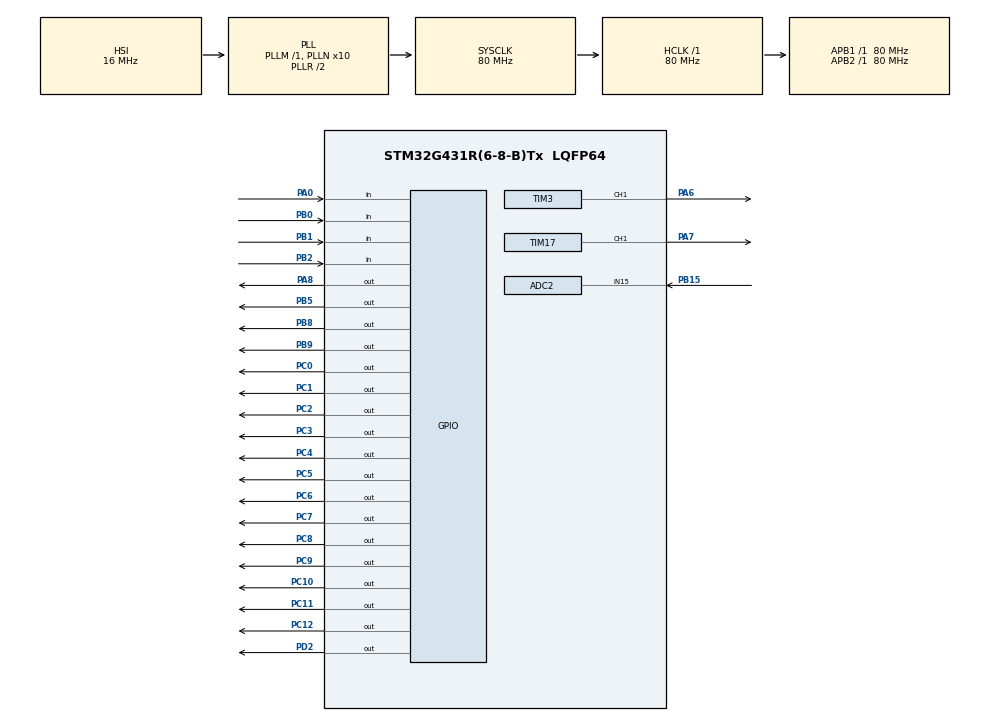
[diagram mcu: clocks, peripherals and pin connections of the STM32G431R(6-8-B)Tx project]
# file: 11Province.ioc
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ADC2.Channel-0\#ChannelRegularConversion=ADC_CHANNEL_15
ADC2.NbrOfConversionFlag=1
ADC2.OffsetNumber-0\#ChannelRegularConversion=ADC_OFFSET_NONE
ADC2.Rank-0\#ChannelRegularConversion=1
ADC2.SamplingTime-0\#ChannelRegularConversion=ADC_SAMPLETIME_2CYCLES_5
Mcu.Family=STM32G4
Mcu.Name=STM32G431R(6-8-B)Tx
Mcu.Package=LQFP64
NVIC.PriorityGroup=NVIC_PRIORITYGROUP_4
NVIC.TIM1_UP_TIM16_IRQn=true\:0\:0\:false\:false\:true\:true\:true\:true
PA0.Signal=GPIO_Input
PA13.Mode=Serial_Wire
PA13.Signal=SYS_JTMS-SWDIO
PA14.Mode=Serial_Wire
PA14.Signal=SYS_JTCK-SWCLK
PA6.Signal=S_TIM3_CH1
PA7.Signal=S_TIM17_CH1
PA8.Signal=GPIO_Output
PB0.Signal=GPIO_Input
PB1.Signal=GPIO_Input
PB15.Mode=IN15-Single-Ended
PB15.Signal=ADC2_IN15
PB2.Signal=GPIO_Input
PB5.Signal=GPIO_Output
PB8-BOOT0.Signal=GPIO_Output
PB9.Signal=GPIO_Output
PC0.Signal=GPIO_Output
PC1.Signal=GPIO_Output
PC10.Signal=GPIO_Output
PC11.Signal=GPIO_Output
PC12.Signal=GPIO_Output
PC2.Signal=GPIO_Output
PC3.Signal=GPIO_Output
PC4.Signal=GPIO_Output
PC5.Signal=GPIO_Output
PC6.Signal=GPIO_Output
PC7.Signal=GPIO_Output
PC8.Signal=GPIO_Output
PC9.Signal=GPIO_Output
PD2.Signal=GPIO_Output
PF0-OSC_IN.Mode=HSE-External-Oscillator
PF0-OSC_IN.Signal=RCC_OSC_IN
PF1-OSC_OUT.Mode=HSE-External-Oscillator
PF1-OSC_OUT.Signal=RCC_OSC_OUT
ProjectManager.HeapSize=0x200
ProjectManager.StackSize=0x400
ProjectManager.TargetToolchain=MDK-ARM V5.32
RCC.ADC12Freq_Value=80000000
RCC.AHBFreq_Value=80000000
RCC.APB1Freq_Value=80000000
RCC.APB1TimFreq_Value=80000000
RCC.APB2Freq_Value=80000000
RCC.APB2TimFreq_Value=80000000
RCC.CortexFreq_Value=80000000
RCC.EXTERNAL_CLOCK_VALUE=12288000
RCC.HCLKFreq_Value=80000000
RCC.HSE_VALUE=8000000
RCC.HSI48_VALUE=48000000
RCC.HSI_VALUE=16000000
RCC.LSE_VALUE=32768
RCC.PLLN=10
RCC.SYSCLKFreq_VALUE=80000000
RCC.SYSCLKSource=RCC_SYSCLKSOURCE_PLLCLK
RCC.USBFreq_Value=80000000
RCC.VCOOutputFreq_Value=160000000
SH.S_TIM17_CH1.0=TIM17_CH1,PWM Generation1 CH1
SH.S_TIM3_CH1.0=TIM3_CH1,PWM Generation1 CH1
TIM1.AutoReloadPreload=TIM_AUTORELOAD_PRELOAD_ENABLE
TIM1.PeriodNoDither=10000-1
TIM1.Prescaler=80-1
TIM17.Channel=TIM_CHANNEL_1
TIM17.PeriodNoDither=10000-1
TIM17.Prescaler=40-1
TIM17.PulseNoDither_1=1000
TIM3.Channel-PWM\ Generation1\ CH1=TIM_CHANNEL_1
TIM3.PeriodNoDither=10000-1
TIM3.Prescaler=80-1
TIM3.PulseNoDither_1=1000
VP_SYS_VS_DBSignals.Mode=DisableDeadBatterySignals
VP_TIM17_VS_ClockSourceINT.Mode=Enable_Timer
VP_TIM1_VS_ClockSourceINT.Mode=Internal
board=custom

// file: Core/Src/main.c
/* USER CODE BEGIN Header */
/**
  ******************************************************************************
  * @file           : main.c
  * @brief          : Main program body
  ******************************************************************************
  * @attention
  *
  * Copyright (c) 2024 STMicroelectronics.
  * All rights reserved.
  *
  * This software is licensed under terms that can be found in the LICENSE file
  * in the root directory of this software component.
  * If no LICENSE file comes with this software, it is provided AS-IS.
  *
  ******************************************************************************
  */
/* USER CODE END Header */
#include "main.h"
#include "adc.h"
#include "tim.h"
#include "gpio.h"

/* USER CODE BEGIN Includes */
#include "stdio.h"
#include "string.h"
#include "lcd.h"
#include "interrupt.h"
/* USER CODE END Includes */

void SystemClock_Config(void);

/* USER CODE BEGIN 0 */
int sreen=0;
int PA6_Duty=1000;
int PA7_Duty=1000;
int mode_sta=0;
int LED=0x00;
void Key()
{
	if(get_key_stat(0))
	{
		set_key_stat(0,0);
		sreen++;
	}
	if(sreen%2)
	{
		if(get_key_stat(1))
		{
			set_key_stat(1,0);
			if(PA6_Duty>=9000)		{PA6_Duty=1000;}
			else if(PA6_Duty<1000)  {PA6_Duty=1000;}
			else					{PA6_Duty+=1000;}
			__HAL_TIM_SetCompare(&htim3,TIM_CHANNEL_1,PA6_Duty);
		}
		if(get_key_stat(2))
		{
			set_key_stat(2,0);
			if(PA7_Duty>=9000)		{PA7_Duty=1000;}
			else if(PA7_Duty<1000)  {PA7_Duty=1000;}
			else					{PA7_Duty+=1000;}
			__HAL_TIM_SetCompare(&htim17,TIM_CHANNEL_1,PA7_Duty);
		}
	}
	if(get_key_stat(3))
	{
		mode_sta++;
		set_key_stat(3,0);
	}
}
void Data()
{
	static char *mode[2]={"AUTO","MANU"};
	double value=getADC(&hadc2);
	unsigned char str[20];
	LCD_DisplayStringLine(Line0,(u8 *)"      Data  ");
	sprintf((char *)str,"    V:%.2fV   ",value);
	LCD_DisplayStringLine(Line2,str);
	if(mode_sta%2){
		if(PA6_Duty>=9000)		{PA6_Duty=1000;}
		else if(PA6_Duty<1000)  {PA6_Duty=1000;}
		if(PA7_Duty>=9000)		{PA7_Duty=1000;}
		else if(PA7_Duty<1000)  {PA7_Duty=1000;}
		__HAL_TIM_SetCompare(&htim3,TIM_CHANNEL_1,PA6_Duty);
		__HAL_TIM_SetCompare(&htim17,TIM_CHANNEL_1,PA7_Duty);
		sprintf((char*)str,"    Mode:%s",mode[1]);
		LED=(0x02);
	}
	else{
		LED=(0x03);
		PA6_Duty=PA7_Duty=value/3.3*10000;
		sprintf((char*)str,"    Mode:%s",mode[0]);
		__HAL_TIM_SetCompare(&htim3,TIM_CHANNEL_1,PA6_Duty);
		__HAL_TIM_SetCompare(&htim17,TIM_CHANNEL_1,PA7_Duty);
	}
	LCD_DisplayStringLine(Line4,str);
}
void Para()
{
	int x=0;
	unsigned char str[20];
	if(PA6_Duty>=9000)		{PA6_Duty=1000;}
	else if(PA6_Duty<1000)  {PA6_Duty=1000;}
	if(PA7_Duty>=9000)		{PA7_Duty=1000;}
	else if(PA7_Duty<1000)  {PA7_Duty=1000;}
	__HAL_TIM_SetCompare(&htim3,TIM_CHANNEL_1,PA6_Duty);
	__HAL_TIM_SetCompare(&htim17,TIM_CHANNEL_1,PA7_Duty);
	LCD_DisplayStringLine(Line0,(u8 *)"      Para  ");
	sprintf((char *)str,"    PA6:%d%%     ",PA6_Duty/100);
	LCD_DisplayStringLine(Line2,str);
	sprintf((char *)str,"    PA7:%d%%     ",PA7_Duty/100);
	LCD_DisplayStringLine(Line4,str);
	LED=(0x00);
}
/* USER CODE END 0 */

int main(void)
{

  /* MCU Configuration--------------------------------------------------------*/

  /* Reset of all peripherals, Initializes the Flash interface and the Systick. */
  HAL_Init();

  /* Configure the system clock */
  SystemClock_Config();

  /* Initialize all configured peripherals */
  MX_GPIO_Init();
  MX_ADC2_Init();
  MX_TIM1_Init();
  MX_TIM3_Init();
  MX_TIM17_Init();
  /* USER CODE BEGIN 2 */
	LCD_Init();
	LCD_Clear(Black);
	LCD_SetTextColor(White);
	LCD_SetBackColor(Black);
	HAL_TIM_Base_Start_IT(&htim1);
	HAL_TIM_PWM_Start(&htim3,TIM_CHANNEL_1);
	HAL_TIM_PWM_Start(&htim17,TIM_CHANNEL_1);
	HAL_ADCEx_Calibration_Start(&hadc2,ADC_SINGLE_ENDED);
	LED_Disp(0x00);
  /* USER CODE END 2 */

  /* Infinite loop */
  while (1)
  {

    /* USER CODE BEGIN 3 */
	  LED_Disp(LED);
	  Key();
	  switch(sreen%2)
	  {
		  case 0:
			Data();break;
		  case 1:
			Para();break;
	  }

  }
  /* USER CODE END 3 */
}

void SystemClock_Config(void)
{
  RCC_OscInitTypeDef RCC_OscInitStruct = {0};
  RCC_ClkInitTypeDef RCC_ClkInitStruct = {0};

  /** Configure the main internal regulator output voltage
  */
  HAL_PWREx_ControlVoltageScaling(PWR_REGULATOR_VOLTAGE_SCALE1);

  /** Initializes the RCC Oscillators according to the specified parameters
  * in the RCC_OscInitTypeDef structure.
  */
  RCC_OscInitStruct.OscillatorType = RCC_OSCILLATORTYPE_HSI;
  RCC_OscInitStruct.HSIState = RCC_HSI_ON;
  RCC_OscInitStruct.HSICalibrationValue = RCC_HSICALIBRATION_DEFAULT;
  RCC_OscInitStruct.PLL.PLLState = RCC_PLL_ON;
  RCC_OscInitStruct.PLL.PLLSource = RCC_PLLSOURCE_HSI;
  RCC_OscInitStruct.PLL.PLLM = RCC_PLLM_DIV1;
  RCC_OscInitStruct.PLL.PLLN = 10;
  RCC_OscInitStruct.PLL.PLLP = RCC_PLLP_DIV2;
  RCC_OscInitStruct.PLL.PLLQ = RCC_PLLQ_DIV2;
  RCC_OscInitStruct.PLL.PLLR = RCC_PLLR_DIV2;
  if (HAL_RCC_OscConfig(&RCC_OscInitStruct) != HAL_OK)
  {
    Error_Handler();
  }

  /** Initializes the CPU, AHB and APB buses clocks
  */
  RCC_ClkInitStruct.ClockType = RCC_CLOCKTYPE_HCLK|RCC_CLOCKTYPE_SYSCLK
                              |RCC_CLOCKTYPE_PCLK1|RCC_CLOCKTYPE_PCLK2;
  RCC_ClkInitStruct.SYSCLKSource = RCC_SYSCLKSOURCE_PLLCLK;
  RCC_ClkInitStruct.AHBCLKDivider = RCC_SYSCLK_DIV1;
  RCC_ClkInitStruct.APB1CLKDivider = RCC_HCLK_DIV1;
  RCC_ClkInitStruct.APB2CLKDivider = RCC_HCLK_DIV1;

  if (HAL_RCC_ClockConfig(&RCC_ClkInitStruct, FLASH_LATENCY_2) != HAL_OK)
  {
    Error_Handler();
  }
}

void Error_Handler(void)
{
  __disable_irq();
  while (1)
  {
  }
}
